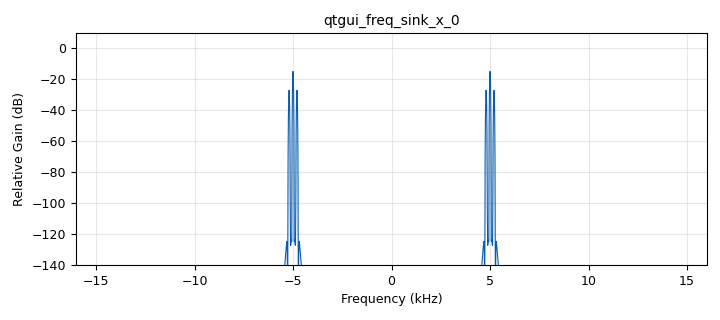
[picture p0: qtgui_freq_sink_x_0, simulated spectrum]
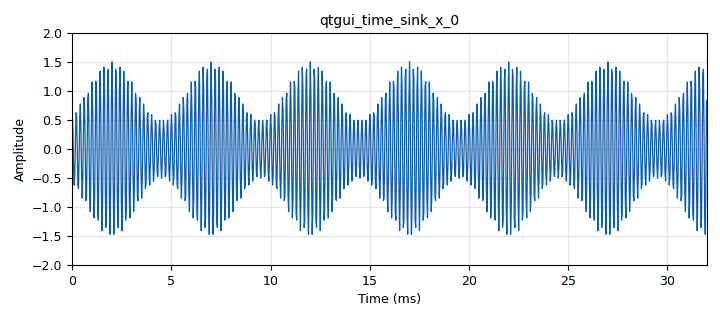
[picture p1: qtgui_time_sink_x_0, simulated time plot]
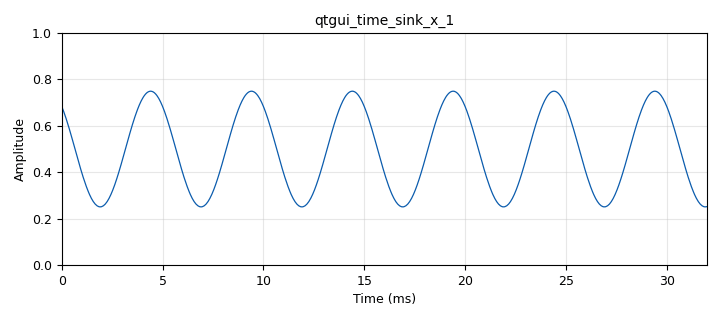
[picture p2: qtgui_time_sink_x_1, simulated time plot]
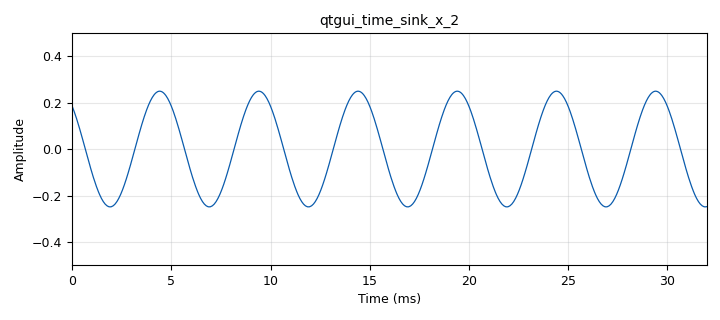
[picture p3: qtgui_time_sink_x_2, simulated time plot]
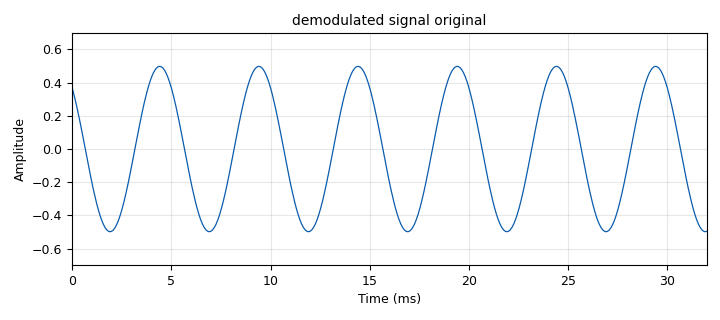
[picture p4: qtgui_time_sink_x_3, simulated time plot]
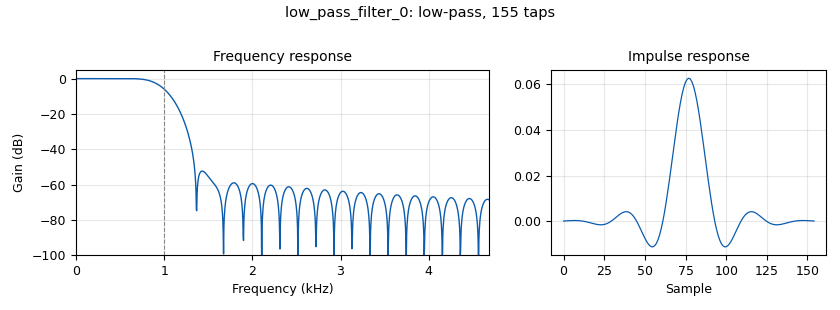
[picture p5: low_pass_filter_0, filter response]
options:
  parameters:
    author: jithe
    generate_options: qt_gui
    id: am_modulation
    output_language: python
    title: Not titled yet
  states: {}

blocks:
- name: samp_rate
  id: variable
  parameters:
    value: '32000'
  states: {}
- name: analog_sig_source_x_0
  id: analog_sig_source_x
  parameters:
    amp: '0.5'
    freq: '200'
    offset: '0'
    phase: '0'
    samp_rate: samp_rate
    type: float
    waveform: analog.GR_COS_WAVE
  states: {}
- name: analog_sig_source_x_1
  id: analog_sig_source_x
  parameters:
    amp: '1'
    freq: '5000'
    offset: '0'
    phase: '0'
    samp_rate: samp_rate
    type: float
    waveform: analog.GR_COS_WAVE
  states: {}
- name: analog_sig_source_x_2
  id: analog_sig_source_x
  parameters:
    amp: '1'
    freq: '5000'
    offset: '0'
    phase: '0'
    samp_rate: samp_rate
    type: float
    waveform: analog.GR_COS_WAVE
  states: {}
- name: blocks_add_const_vxx_0
  id: blocks_add_const_vxx
  parameters:
    const: '1'
    type: float
  states: {}
- name: blocks_add_const_vxx_1
  id: blocks_add_const_vxx
  parameters:
    const: '-.5'
    type: float
  states: {}
- name: blocks_multiply_const_vxx_0
  id: blocks_multiply_const_vxx
  parameters:
    const: '2'
    type: float
  states: {}
- name: blocks_multiply_xx_0
  id: blocks_multiply_xx
  parameters:
    type: float
  states: {}
- name: blocks_multiply_xx_1
  id: blocks_multiply_xx
  parameters:
    type: float
  states: {}
- name: low_pass_filter_0
  id: low_pass_filter
  parameters:
    cutoff_freq: '1000'
    decim: '1'
    gain: '1'
    samp_rate: samp_rate
    type: fir_filter_fff
    width: '500'
    win: window.WIN_HAMMING
  states: {}
- name: qtgui_freq_sink_x_0
  id: qtgui_freq_sink_x
  parameters:
    bw: samp_rate
    fc: '0'
    fftsize: '2048'
    type: float
  states: {}
- name: qtgui_time_sink_x_0
  id: qtgui_time_sink_x
  parameters:
    size: '1024'
    srate: samp_rate
    type: float
    ymax: '2'
    ymin: '-2'
  states: {}
- name: qtgui_time_sink_x_1
  id: qtgui_time_sink_x
  parameters:
    size: '1024'
    srate: samp_rate
    type: float
    ymin: '0'
  states: {}
- name: qtgui_time_sink_x_2
  id: qtgui_time_sink_x
  parameters:
    size: '1024'
    srate: samp_rate
    type: float
    ymax: '.5'
    ymin: '-.5'
  states: {}
- name: qtgui_time_sink_x_3
  id: qtgui_time_sink_x
  parameters:
    name: '" demodulated signal original"'
    size: '1024'
    srate: samp_rate
    type: float
    ymax: '.7'
    ymin: '-.7'
  states: {}

connections:
- [analog_sig_source_x_0, '0', blocks_add_const_vxx_0, '0']
- [analog_sig_source_x_1, '0', blocks_multiply_xx_0, '1']
- [analog_sig_source_x_2, '0', blocks_multiply_xx_1, '1']
- [blocks_add_const_vxx_0, '0', blocks_multiply_xx_0, '0']
- [blocks_add_const_vxx_1, '0', blocks_multiply_const_vxx_0, '0']
- [blocks_add_const_vxx_1, '0', qtgui_time_sink_x_2, '0']
- [blocks_multiply_const_vxx_0, '0', qtgui_time_sink_x_3, '0']
- [blocks_multiply_xx_0, '0', blocks_multiply_xx_1, '0']
- [blocks_multiply_xx_0, '0', qtgui_freq_sink_x_0, '0']
- [blocks_multiply_xx_0, '0', qtgui_time_sink_x_0, '0']
- [blocks_multiply_xx_1, '0', low_pass_filter_0, '0']
- [low_pass_filter_0, '0', blocks_add_const_vxx_1, '0']
- [low_pass_filter_0, '0', qtgui_time_sink_x_1, '0']

metadata:
  file_format: 1
  grc_version: 3.10.12.0
